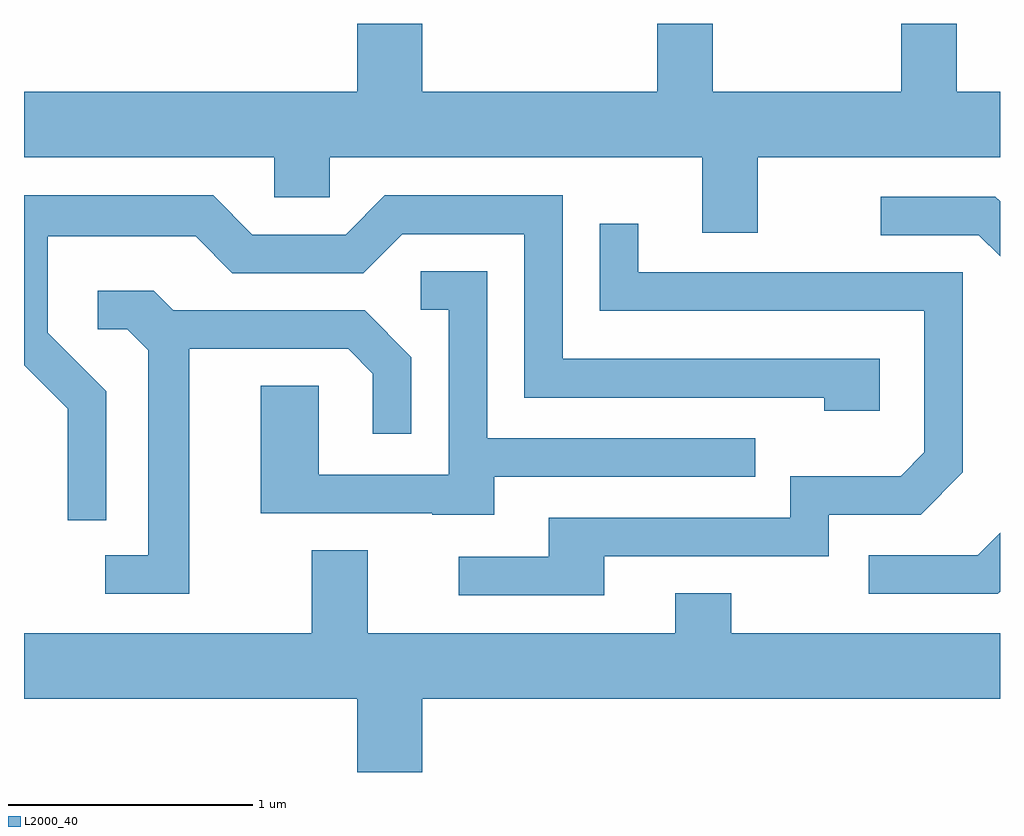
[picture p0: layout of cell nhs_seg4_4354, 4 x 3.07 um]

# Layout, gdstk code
import gdstk
lib = gdstk.Library(unit=1e-6, precision=1e-09)
def P(c, l, *ps):  # polygons
    for p in ps: c.add(gdstk.Polygon(p, *l))
L2000_40 = (2000, 40)

nhs_seg4_4354 = lib.new_cell('nhs_seg4_4354')
P(nhs_seg4_4354, L2000_40, [(316.391,1261.126),(316.619,1261.126),(316.619,1261.436),(317.611,1261.436),(317.611,1261.704),(317.434,1261.704),(317.434,1261.982),(317.206,1261.982),(317.206,1261.704),(316.434,1261.704),(316.434,1261.982),(316.206,1261.982),(316.206,1261.704),(315.244,1261.704),(315.244,1261.982),(314.976,1261.982),(314.976,1261.704),(313.611,1261.704),(313.611,1261.436),(314.636,1261.436),(314.636,1261.271),(314.864,1261.271),(314.864,1261.436),(316.391,1261.436)],
  [(313.949,1260.477),(313.709,1260.717),(313.709,1261.111),(314.314,1261.111),(314.464,1260.961),(315.002,1260.961),(315.162,1261.121),(315.661,1261.121),(315.661,1260.451),(316.891,1260.451),(316.891,1260.396),(317.119,1260.396),(317.119,1260.609),(315.819,1260.609),(315.819,1261.279),(315.089,1261.279),(314.929,1261.119),(314.547,1261.119),(314.387,1261.279),(313.611,1261.279),(313.611,1260.584),(313.791,1260.404),(313.791,1259.948),(313.949,1259.948)],
  [(317.611,1261.255),(317.592,1261.274),(317.123,1261.274),(317.123,1261.116),(317.524,1261.116),(317.611,1261.029)],
  [(315.989,1259.801),(316.909,1259.801),(316.909,1259.971),(317.287,1259.971),(317.459,1260.144),(317.459,1260.964),(316.129,1260.964),(316.129,1261.163),(315.971,1261.163),(315.971,1260.806),(317.301,1260.806),(317.301,1260.227),(317.204,1260.129),(316.751,1260.129),(316.751,1259.959),(315.761,1259.959),(315.761,1259.799),(315.393,1259.799),(315.393,1259.641),(315.989,1259.641)],
  [(315.539,1260.126),(316.608,1260.126),(316.608,1260.284),(315.509,1260.284),(315.509,1260.969),(315.238,1260.969),(315.238,1260.811),(315.351,1260.811),(315.351,1260.134),(314.819,1260.134),(314.819,1260.499),(314.581,1260.499),(314.581,1259.976),(315.285,1259.976),(315.285,1259.971),(315.539,1259.971)],
  [(314.289,1260.651),(314.939,1260.651),(315.041,1260.549),(315.041,1260.303),(315.199,1260.303),(315.199,1260.617),(315.007,1260.809),(314.222,1260.809),(314.142,1260.889),(313.913,1260.889),(313.913,1260.731),(314.034,1260.731),(314.121,1260.644),(314.121,1259.804),(313.943,1259.804),(313.943,1259.646),(314.289,1259.646)],
  [(317.611,1259.655),(317.611,1259.897),(317.519,1259.804),(317.073,1259.804),(317.073,1259.646),(317.602,1259.646)],
  [(315.244,1259.216),(317.611,1259.216),(317.611,1259.484),(316.509,1259.484),(316.509,1259.649),(316.281,1259.649),(316.281,1259.484),(315.019,1259.484),(315.019,1259.824),(314.791,1259.824),(314.791,1259.484),(313.611,1259.484),(313.611,1259.216),(314.976,1259.216),(314.976,1258.916),(315.244,1258.916)])

lib.write_gds('nhs_seg4_4354.gds')
